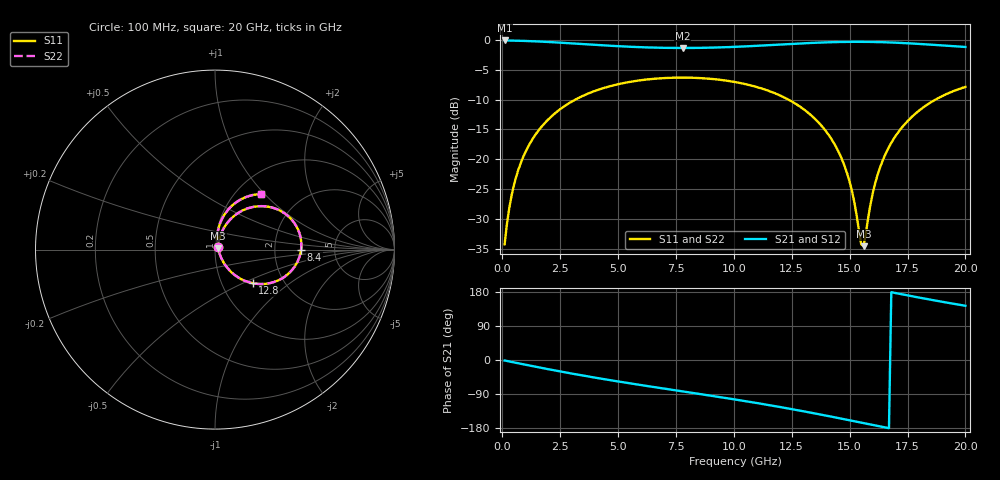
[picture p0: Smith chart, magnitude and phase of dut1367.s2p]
! Touchstone file exported from HFSS 2026.1.0
!  File:  C:/ffzhzh/LocalFiles/Ansys_Project_Files/temp_train_TSV_RDL_1367_1783345339_4416.aedt
!  Generated:  09:54:12 PM Jul  6, 2026
!  Design:  TSV_RDL
!  Project:  temp_train_TSV_RDL_1367_1783345339_4416
! Variables:
!  h_bsmrdl = 5.58um
!  h_ox = 20um
!  h_rdl = 5um
!  h_sub = 67.46um
!  h_tmrdl = 3.87um
!  h_tsv = 67.46um
!  h_via = 3um
!  l_bsmrdl = 472.06um
!  l_sub = 3475.58um
!  l_tmrdl = 383.44um
!  m_sub = 200um
!  pitch = 51.89um
!  r_tsv = 14.64um
!  s_tmrdl = 10um
!  w_bsmrdl = 29.32um
!  w_sub = 500um
!  w_tmrdl = 12.56um
!  x_tsv_center1 = 389.72um
!  x_tsv_center2 = 891.1um
!  x_tsv_center3 = 1287.1um
!  x_tsv_center4 = 1788.48um
!  x_tsv_center5 = 2184.48um
!  x_tsv_center6 = 2685.86um
# GHz S MA R 50.000000
! Terminal data exported
! Port[1] = TM_RDL1_1_T1
! Port[2] = TM_RDL5_1_T1
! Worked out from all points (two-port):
!   200 points, 100 MHz to 20 GHz, reference 50 ohm
!   highest |S21| = -0.13 dB at 100 MHz (marker M1); lowest = -1.4 dB at 7.8 GHz (marker M2)
!   |S21| within 3 dB of the highest: start of sweep to end of sweep
!   lowest |S11| = -34.5 dB at 15.6 GHz (marker M3), VSWR 1.04, Z = 51.7 + j0.824 ohm
!   |S11| at or under -10 dB: start of sweep to 3.161 GHz; 12.35 GHz to 18.71 GHz (6.362 GHz wide, 41 % of centre)
!   |S22| runs from -34.4 to -6.3 dB; largest |S21 - S12| = 1.7e-14
!   S11 on the Smith chart (normalised r, x): 100 MHz: 1.03, +0.02; 8.4 GHz: 2.84, -0.01; 12.8 GHz: 1.39, -0.57; 20 GHz: 1.30, +0.96
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0.1  0.01958 37.7  0.9847 -1.3  0.9847 -1.3  0.01958 37.7
! Gamma 0 0 0 0
! Port Impedance 50 0 50 0
0.3  0.03915 61.7  0.983 -3.8  0.983 -3.8  0.03915 61.7
0.5  0.06076 67.6  0.9811 -6.3  0.9811 -6.3  0.06076 67.6
1.1  0.126 68.0  0.9738 -13.7  0.9738 -13.7  0.126 68.0
2.1  0.2265 59.3  0.9538 -25.6  0.9538 -25.6  0.2265 59.3
3.5  0.3407 45.1  0.9179 -41.2  0.9179 -41.2  0.3407 45.1
6.8  0.4753 14.0  0.8561 -73.7  0.8561 -73.7  0.4753 14.0
7.8  0.4822 5.1  0.852 -83.0  0.852 -83.0  0.4822 5.1
8.4  0.4792 -0.2  0.8534 -88.5  0.8534 -88.5  0.4792 -0.2
10.1  0.441 -15.6  0.8716 -104.6  0.8716 -104.6  0.441 -15.6
12.8  0.2807 -41.8  0.9278 -133.0  0.9278 -133.0  0.2807 -41.8
13.4  0.2279 -47.7  0.9398 -139.9  0.9398 -139.9  0.2279 -47.6
14.1  0.1597 -53.8  0.9511 -148.1  0.9511 -148.1  0.1597 -53.7
14.7  0.09702 -56.6  0.9573 -155.4  0.9573 -155.4  0.09705 -56.5
15.1  0.0546 -52.6  0.9593 -160.3  0.9593 -160.3  0.05466 -52.4
15.5  0.01961 -7.6  0.9594 -165.2  0.9594 -165.2  0.01976 -7.4
15.6  0.01887 25.0  0.9591 -166.5  0.9591 -166.5  0.01902 24.8
15.9  0.04206 72.3  0.9576 -170.1  0.9576 -170.1  0.04212 72.1
16.1  0.06283 78.8  0.956 -172.6  0.956 -172.6  0.06287 78.6
16.7  0.1269 80.3  0.9486 -179.9  0.9486 -179.9  0.127 80.2
18  0.2558 69.6  0.9214 164.7  0.9214 164.7  0.2558 69.5
20  0.4033 50.1  0.869 143.1  0.869 143.1  0.4033 50.0
